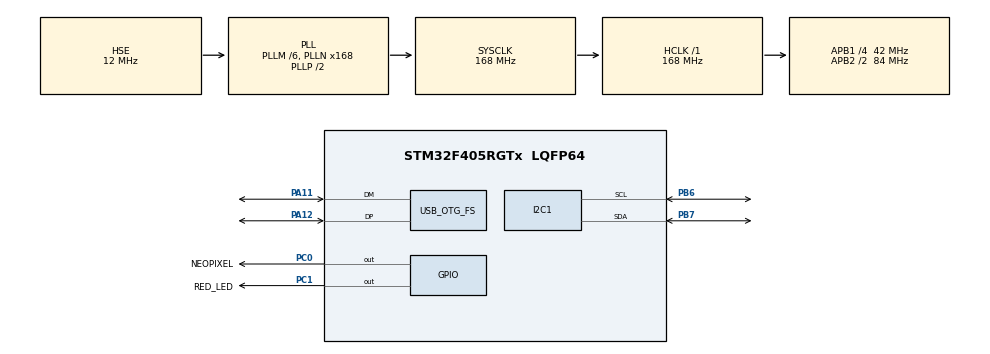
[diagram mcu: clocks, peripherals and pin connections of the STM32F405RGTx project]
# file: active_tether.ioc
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I2C1.I2C_Mode=I2C_Standard
I2C1.OwnAddress=69
Mcu.Family=STM32F4
Mcu.Name=STM32F405RGTx
Mcu.Package=LQFP64
NVIC.I2C1_EV_IRQn=true\:0\:0\:false\:false\:true\:true\:true\:true
NVIC.OTG_FS_IRQn=true\:0\:0\:false\:false\:true\:false\:true\:true
NVIC.PriorityGroup=NVIC_PRIORITYGROUP_4
PA11.Mode=Device_Only
PA11.Signal=USB_OTG_FS_DM
PA12.Mode=Device_Only
PA12.Signal=USB_OTG_FS_DP
PA14.Mode=Serial_Wire
PA14.Signal=SYS_JTCK-SWCLK
PB6.Mode=I2C
PB6.Signal=I2C1_SCL
PB7.Mode=I2C
PB7.Signal=I2C1_SDA
PC0.GPIO_Label=NEOPIXEL
PC0.Signal=GPIO_Output
PC1.GPIO_Label=RED_LED
PC1.Signal=GPIO_Output
PC14-OSC32_IN.Mode=LSE-External-Oscillator
PC14-OSC32_IN.Signal=RCC_OSC32_IN
PC15-OSC32_OUT.Mode=LSE-External-Oscillator
PC15-OSC32_OUT.Signal=RCC_OSC32_OUT
PH0-OSC_IN.Mode=HSE-External-Oscillator
PH0-OSC_IN.Signal=RCC_OSC_IN
PH1-OSC_OUT.Mode=HSE-External-Oscillator
PH1-OSC_OUT.Signal=RCC_OSC_OUT
ProjectManager.HeapSize=0x200
ProjectManager.StackSize=0x400
ProjectManager.TargetToolchain=Makefile
RCC.48MHZClocksFreq_Value=48000000
RCC.AHBFreq_Value=168000000
RCC.APB1CLKDivider=RCC_HCLK_DIV4
RCC.APB1Freq_Value=42000000
RCC.APB1TimFreq_Value=84000000
RCC.APB2CLKDivider=RCC_HCLK_DIV2
RCC.APB2Freq_Value=84000000
RCC.APB2TimFreq_Value=168000000
RCC.CortexFreq_Value=168000000
RCC.HCLKFreq_Value=168000000
RCC.HSE_VALUE=12000000
RCC.HSI_VALUE=16000000
RCC.PLLM=6
RCC.PLLN=168
RCC.PLLQ=7
RCC.SYSCLKFreq_VALUE=168000000
RCC.SYSCLKSource=RCC_SYSCLKSOURCE_PLLCLK
RCC.VCOOutputFreq_Value=336000000
USB_DEVICE.CLASS_NAME_FS=CDC
USB_DEVICE.VirtualMode-CDC_FS=Cdc
USB_DEVICE.VirtualModeFS=Cdc_FS
USB_OTG_FS.VirtualMode=Device_Only
VP_RTC_VS_RTC_Activate.Mode=RTC_Enabled
VP_USB_DEVICE_VS_USB_DEVICE_CDC_FS.Mode=CDC_FS
board=custom

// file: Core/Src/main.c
/* USER CODE BEGIN Header */
/**
  ******************************************************************************
  * @file           : main.c
  * @brief          : Main program body
  ******************************************************************************
  * @attention
  *
  * Copyright (c) 2022 STMicroelectronics.
  * All rights reserved.
  *
  * This software is licensed under terms that can be found in the LICENSE file
  * in the root directory of this software component.
  * If no LICENSE file comes with this software, it is provided AS-IS.
  *
  ******************************************************************************
  */
/* USER CODE END Header */
#include "main.h"
#include "usb_device.h"

/* USER CODE BEGIN Includes */
#include <stdio.h>
#include "usbd_cdc_if.h"

/* USER CODE END Includes */

 I2C_HandleTypeDef hi2c1;

RTC_HandleTypeDef hrtc;

void SystemClock_Config(void);
static void MX_GPIO_Init(void);
static void MX_I2C1_Init(void);
static void MX_RTC_Init(void);

/* USER CODE BEGIN 0 */
/// Forwards use of printf to USB CDC
int _write(int file, char *ptr, int len) {
  CDC_Transmit_FS((uint8_t*) ptr, len);
  return len;
}

void SetupHAL(void)
{
  HAL_Init();

  SystemClock_Config();
  MX_GPIO_Init();
  MX_I2C1_Init();
  MX_RTC_Init();
  MX_USB_DEVICE_Init();
}
/* USER CODE END 0 */

void SystemClock_Config(void)
{
  RCC_OscInitTypeDef RCC_OscInitStruct = {0};
  RCC_ClkInitTypeDef RCC_ClkInitStruct = {0};

  /** Configure the main internal regulator output voltage
  */
  __HAL_RCC_PWR_CLK_ENABLE();
  __HAL_PWR_VOLTAGESCALING_CONFIG(PWR_REGULATOR_VOLTAGE_SCALE1);

  /** Initializes the RCC Oscillators according to the specified parameters
  * in the RCC_OscInitTypeDef structure.
  */
  RCC_OscInitStruct.OscillatorType = RCC_OSCILLATORTYPE_LSI|RCC_OSCILLATORTYPE_HSE;
  RCC_OscInitStruct.HSEState = RCC_HSE_ON;
  RCC_OscInitStruct.LSIState = RCC_LSI_ON;
  RCC_OscInitStruct.PLL.PLLState = RCC_PLL_ON;
  RCC_OscInitStruct.PLL.PLLSource = RCC_PLLSOURCE_HSE;
  RCC_OscInitStruct.PLL.PLLM = 6;
  RCC_OscInitStruct.PLL.PLLN = 168;
  RCC_OscInitStruct.PLL.PLLP = RCC_PLLP_DIV2;
  RCC_OscInitStruct.PLL.PLLQ = 7;
  if (HAL_RCC_OscConfig(&RCC_OscInitStruct) != HAL_OK)
  {
    Error_Handler();
  }

  /** Initializes the CPU, AHB and APB buses clocks
  */
  RCC_ClkInitStruct.ClockType = RCC_CLOCKTYPE_HCLK|RCC_CLOCKTYPE_SYSCLK
                              |RCC_CLOCKTYPE_PCLK1|RCC_CLOCKTYPE_PCLK2;
  RCC_ClkInitStruct.SYSCLKSource = RCC_SYSCLKSOURCE_PLLCLK;
  RCC_ClkInitStruct.AHBCLKDivider = RCC_SYSCLK_DIV1;
  RCC_ClkInitStruct.APB1CLKDivider = RCC_HCLK_DIV4;
  RCC_ClkInitStruct.APB2CLKDivider = RCC_HCLK_DIV2;

  if (HAL_RCC_ClockConfig(&RCC_ClkInitStruct, FLASH_LATENCY_5) != HAL_OK)
  {
    Error_Handler();
  }
}

static void MX_I2C1_Init(void)
{

  hi2c1.Instance = I2C1;
  hi2c1.Init.ClockSpeed = 100000;
  hi2c1.Init.DutyCycle = I2C_DUTYCYCLE_2;
  hi2c1.Init.OwnAddress1 = 138;
  hi2c1.Init.AddressingMode = I2C_ADDRESSINGMODE_7BIT;
  hi2c1.Init.DualAddressMode = I2C_DUALADDRESS_DISABLE;
  hi2c1.Init.OwnAddress2 = 0;
  hi2c1.Init.GeneralCallMode = I2C_GENERALCALL_DISABLE;
  hi2c1.Init.NoStretchMode = I2C_NOSTRETCH_DISABLE;
  if (HAL_I2C_Init(&hi2c1) != HAL_OK)
  {
    Error_Handler();
  }

}

static void MX_RTC_Init(void)
{

  /** Initialize RTC Only
  */
  hrtc.Instance = RTC;
  hrtc.Init.HourFormat = RTC_HOURFORMAT_24;
  hrtc.Init.AsynchPrediv = 127;
  hrtc.Init.SynchPrediv = 255;
  hrtc.Init.OutPut = RTC_OUTPUT_DISABLE;
  hrtc.Init.OutPutPolarity = RTC_OUTPUT_POLARITY_HIGH;
  hrtc.Init.OutPutType = RTC_OUTPUT_TYPE_OPENDRAIN;
  if (HAL_RTC_Init(&hrtc) != HAL_OK)
  {
    Error_Handler();
  }

}

static void MX_GPIO_Init(void)
{
  GPIO_InitTypeDef GPIO_InitStruct = {0};

  /* GPIO Ports Clock Enable */
  __HAL_RCC_GPIOC_CLK_ENABLE();
  __HAL_RCC_GPIOH_CLK_ENABLE();
  __HAL_RCC_GPIOA_CLK_ENABLE();
  __HAL_RCC_GPIOB_CLK_ENABLE();

  /*Configure GPIO pin Output Level */
  HAL_GPIO_WritePin(GPIOC, NEOPIXEL_Pin|RED_LED_Pin, GPIO_PIN_RESET);

  /*Configure GPIO pins : NEOPIXEL_Pin RED_LED_Pin */
  GPIO_InitStruct.Pin = NEOPIXEL_Pin|RED_LED_Pin;
  GPIO_InitStruct.Mode = GPIO_MODE_OUTPUT_PP;
  GPIO_InitStruct.Pull = GPIO_NOPULL;
  GPIO_InitStruct.Speed = GPIO_SPEED_FREQ_LOW;
  HAL_GPIO_Init(GPIOC, &GPIO_InitStruct);

}

void Error_Handler(void)
{
  /* USER CODE BEGIN Error_Handler_Debug */
  /* User can add his own implementation to report the HAL error return state */
  __disable_irq();
  while (1)
  {
    HAL_GPIO_TogglePin(RED_LED_GPIO_Port, RED_LED_Pin);
    printf("Error_Handler\n");
    HAL_Delay(50);
  }
  /* USER CODE END Error_Handler_Debug */
}
